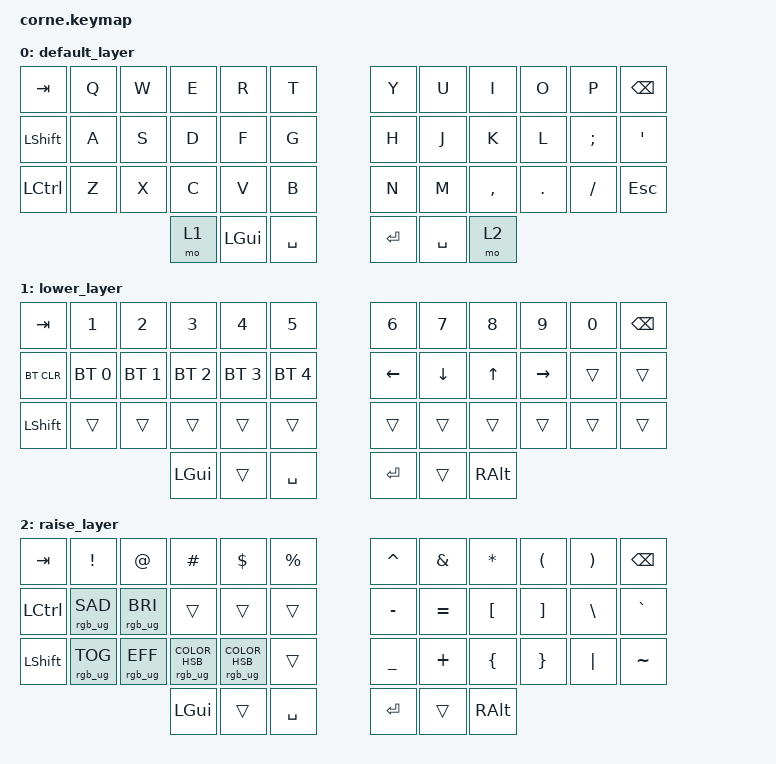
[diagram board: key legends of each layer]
/*
 * Copyright (c) 2020 The ZMK Contributors
 *
 * SPDX-License-Identifier: MIT
 */

#include <behaviors.dtsi>
#include <dt-bindings/zmk/bt.h>
#include <dt-bindings/zmk/keys.h>
#include <dt-bindings/zmk/rgb.h>

/ {
    combos {
        compatible = "zmk,combos";

        parents {
            bindings = <&kp LEFT_PARENTHESIS>;
            key-positions = <18 19>;
        };

        brackts {
            bindings = <&kp LEFT_BRACE>;
            key-positions = <6 7>;
        };

        aspas {
            bindings = <&kp SINGLE_QUOTE>;
            key-positions = <30 31>;
        };
    };

    keymap {
        compatible = "zmk,keymap";

        default_layer {
            // -----------------------------------------------------------------------------------------
            // |  TAB |  Q  |  W  |  E  |  R  |  T  |   |  Y  |  U   |  I  |  O  |  P  | BSPC |
            // | CTRL |  A  |  S  |  D  |  F  |  G  |   |  H  |  J   |  K  |  L  |  ;  |  '   |
            // | SHFT |  Z  |  X  |  C  |  V  |  B  |   |  N  |  M   |  ,  |  .  |  /  | ESC  |
            //                    | GUI | LWR | SPC |   | ENT | RSE  | ALT |

            bindings = <
&kp TAB           &kp Q  &kp W  &kp E  &kp R     &kp T        &kp Y    &kp U      &kp I      &kp O    &kp P     &kp BSPC
&kp LEFT_SHIFT    &kp A  &kp S  &kp D  &kp F     &kp G        &kp H    &kp J      &kp K      &kp L    &kp SEMI  &kp SQT
&kp LEFT_CONTROL  &kp Z  &kp X  &kp C  &kp V     &kp B        &kp N    &kp M      &kp COMMA  &kp DOT  &kp FSLH  &kp ESC
                                &mo 1  &kp LGUI  &kp SPACE    &kp RET  &kp SPACE  &mo 2
            >;
        };

        lower_layer {
            // -----------------------------------------------------------------------------------------
            // |  TAB |  1  |  2  |  3  |  4  |  5  |   |  6  |  7  |  8  |  9  |  0  | BSPC |
            // | BTCLR| BT1 | BT2 | BT3 | BT4 | BT5 |   | LFT | DWN |  UP | RGT |     |      |
            // | SHFT |     |     |     |     |     |   |     |     |     |     |     |      |
            //                    | GUI |     | SPC |   | ENT |     | ALT |

            bindings = <
&kp TAB     &kp N1        &kp N2        &kp N3        &kp N4        &kp N5          &kp N6    &kp N7    &kp N8    &kp N9     &kp N0  &kp BSPC
&bt BT_CLR  &bt BT_SEL 0  &bt BT_SEL 1  &bt BT_SEL 2  &bt BT_SEL 3  &bt BT_SEL 4    &kp LEFT  &kp DOWN  &kp UP    &kp RIGHT  &trans  &trans
&kp LSHFT   &trans        &trans        &trans        &trans        &trans          &trans    &trans    &trans    &trans     &trans  &trans
                                        &kp LGUI      &trans        &kp SPACE       &kp RET   &trans    &kp RALT
            >;
        };

        raise_layer {
            // -----------------------------------------------------------------------------------------
            // |  TAB |  !  |  @  |  #  |  $  |  %  |   |  ^  |  &  |  *  |  (  |  )  | BSPC |
            // | CTRL |     |     |     |     |     |   |  -  |  =  |  [  |  ]  |  \  |  `   |
            // | SHFT |     |     |     |     |     |   |  _  |  +  |  {  |  }  | "|" |  ~   |
            //                    | GUI |     | SPC |   | ENT |     | ALT |

            bindings = <
&kp TAB    &kp EXCL         &kp AT           &kp HASH                           &kp DLLR                           &kp PRCNT    &kp CARET  &kp AMPS   &kp ASTRK  &kp LPAR  &kp RPAR  &kp BSPC
&kp LCTRL  &rgb_ug RGB_SAD  &rgb_ug RGB_BRI  &trans                             &trans                             &trans       &kp MINUS  &kp EQUAL  &kp LBKT   &kp RBKT  &kp BSLH  &kp GRAVE
&kp LSHFT  &rgb_ug RGB_TOG  &rgb_ug RGB_EFF  &rgb_ug RGB_COLOR_HSB(121,100,50)  &rgb_ug RGB_COLOR_HSB(317,100,50)  &trans       &kp UNDER  &kp PLUS   &kp LBRC   &kp RBRC  &kp PIPE  &kp TILDE
                                             &kp LGUI                           &trans                             &kp SPACE    &kp RET    &trans     &kp RALT
            >;
        };
    };
};
